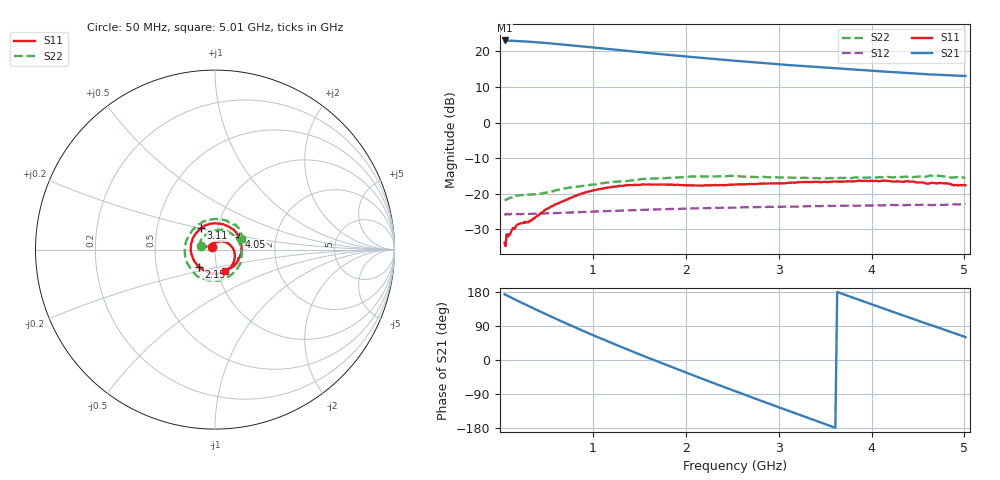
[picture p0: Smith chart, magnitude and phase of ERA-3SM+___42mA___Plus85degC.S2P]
! Mini-Circuits
! S2P DATA File Format
! Type: MMIC Amplifier
! Model: ERA-3SM  Reference Data: RDF-1128B
! Note: All S Parameters are in dB deg format
! TEST CONDITIONS: INPUT POWER = -25dBm, Icc = 42mA, Vd = 3.14V @Temperature = +85degC
! 401 Frequency points
# MHz S DB R 50
!  FREQ  dB(S11)  PHS(S11)  dB(S21)  PHS(S21)  dB(S12)  PHS(S12)  dB(S22)  PHS(S22)
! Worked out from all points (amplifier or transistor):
!   401 points, 50 MHz to 5.01 GHz, reference 50 ohm
!   highest |S21| = 23.1 dB at 50 MHz (marker M1)
!   |S21| within 3 dB of that: start of sweep to 1.4 GHz
!   unconditionally stable (mu >= 1): start of sweep to end of sweep
!   at 710 MHz: K = 1.06, MAG = 22.1 dB, |S12| = -25.3 dB
!   at 2.05 GHz: K = 1.16, MAG = 18.9 dB, |S12| = -24.1 dB
!   at 5.01 GHz: K = 1.64, MAG = 13.3 dB, |S12| = -22.8 dB
!   S11 on the Smith chart (normalised r, x): 50 MHz: 0.97, +0.03; 2.15 GHz: 0.82, -0.16; 3.11 GHz: 0.83, +0.20; 4.05 GHz: 1.29, +0.19; 5.01 GHz: 1.08, -0.26
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50  -33.77 134.0  23.07 173.3  -26.04 -2.8  -21.79 167.3
230  -28.34 106.3  22.86 151.7  -25.72 -12.8  -20.39 137.9
360  -26.94 75.4  22.63 136.3  -25.70 -19.4  -20.11 116.6
470  -25.00 56.7  22.43 123.6  -25.59 -25.7  -19.72 99.9
660  -22.31 30.3  21.97 102.3  -25.38 -36.1  -18.71 72.3
880  -19.95 3.8  21.42 78.5  -25.15 -49.2  -17.84 44.2
1090  -18.60 -20.1  20.87 56.4  -24.93 -61.8  -17.06 18.4
1290  -17.77 -39.6  20.36 36.1  -24.76 -74.2  -16.58 -3.4
1500  -17.52 -60.9  19.81 15.2  -24.59 -87.4  -16.01 -25.3
1710  -17.41 -82.7  19.28 -5.2  -24.42 -100.9  -15.65 -46.4
1940  -17.59 -108.8  18.73 -27.2  -24.24 -115.5  -15.37 -70.1
2150  -17.72 -132.7  18.23 -47.0  -24.10 -129.2  -15.17 -89.3
2340  -17.59 -154.6  17.80 -64.6  -23.97 -141.4  -15.12 -108.2
2530  -17.42 -176.0  17.36 -82.0  -23.89 -153.8  -15.04 -126.6
2790  -17.21 155.7  16.82 -105.7  -23.75 -170.9  -15.30 -150.9
3110  -16.96 123.0  16.15 -134.4  -23.62 168.2  -15.47 179.9
3370  -16.69 95.3  15.67 -157.5  -23.52 151.1  -15.62 154.6
3690  -16.58 63.5  15.11 174.2  -23.37 130.1  -15.60 125.6
4050  -16.39 28.5  14.48 142.6  -23.25 105.9  -15.41 94.2
4190  -16.44 14.6  14.27 130.6  -23.22 96.7  -15.32 82.7
4570  -16.99 -19.7  13.65 97.7  -23.07 71.1  -15.25 54.3
5010  -17.63 -65.7  13.12 60.2  -22.83 42.7  -15.69 21.2
